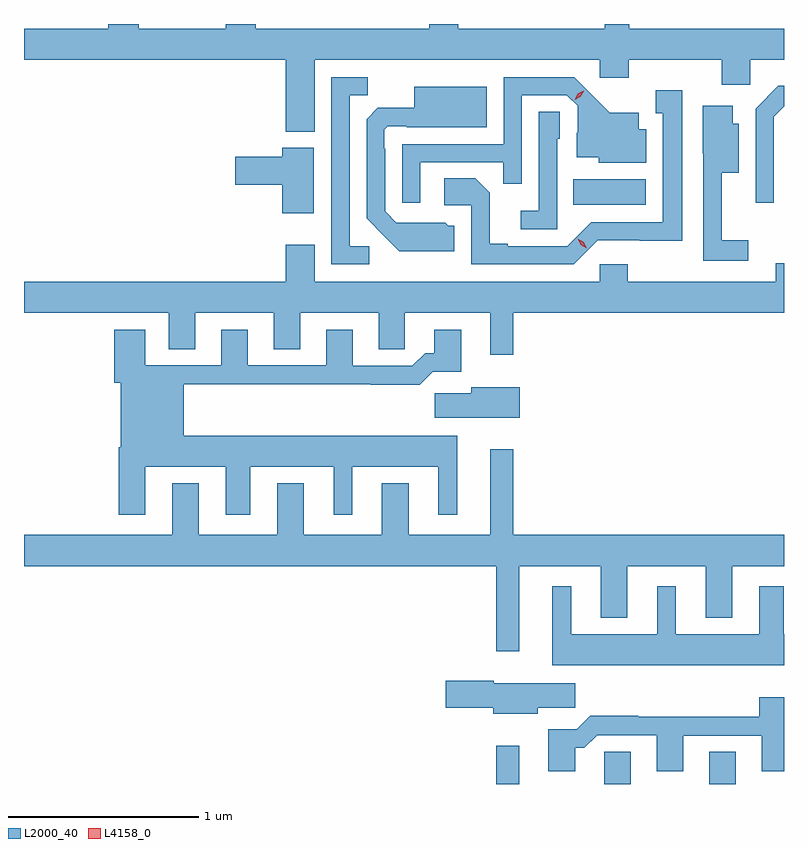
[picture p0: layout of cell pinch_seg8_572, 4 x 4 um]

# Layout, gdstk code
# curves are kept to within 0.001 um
import gdstk
lib = gdstk.Library(unit=1e-6, precision=1e-09)
def R(c, l, rs):  # rectangles x0, y0, x1, y1
    for r in rs: c.add(gdstk.rectangle(r[:2], r[2:], *l))
def P(c, l, *ps):  # polygons
    for p in ps: c.add(gdstk.Polygon(p, *l))
L2000_40 = (2000, 40)
L4158_0 = (4158, 0)

pinch_seg8_572 = lib.new_cell('pinch_seg8_572')
R(pinch_seg8_572, L2000_40, [(161.16,1088.713,161.281,1088.914), (161.73,1088.713,161.869,1088.882), (162.281,1088.713,162.421,1088.882), (161.566,1091.762,161.947,1091.896)])
P(pinch_seg8_572, L2000_40, [(160.204,1092.524),(161.706,1092.524),(161.706,1092.429),(161.858,1092.429),(161.858,1092.524),(162.347,1092.524),(162.347,1092.393),(162.498,1092.393),(162.498,1092.524),(162.675,1092.524),(162.675,1092.688),(161.861,1092.688),(161.861,1092.713),(161.732,1092.713),(161.732,1092.688),(160.96,1092.688),(160.96,1092.713),(160.808,1092.713),(160.808,1092.688),(159.896,1092.688),(159.896,1092.713),(159.736,1092.713),(159.736,1092.688),(159.279,1092.688),(159.279,1092.713),(159.119,1092.713),(159.119,1092.688),(158.675,1092.688),(158.675,1092.524),(160.052,1092.524),(160.052,1092.146),(160.204,1092.146)],
  [(160.492,1091.544),(160.389,1091.544),(160.389,1092.337),(160.485,1092.337),(160.485,1092.432),(160.293,1092.432),(160.293,1091.448),(160.492,1091.448)],
  [(160.761,1091.985),(161.197,1091.985),(161.197,1091.872),(161.295,1091.872),(161.295,1092.339),(161.532,1092.339),(161.589,1092.282),(161.589,1092.14),(161.585,1092.14),(161.585,1092.011),(161.7,1092.011),(161.7,1091.984),(161.95,1091.984),(161.95,1092.16),(161.911,1092.16),(161.911,1092.247),(161.759,1092.247),(161.572,1092.432),(161.199,1092.432),(161.199,1092.081),(160.665,1092.081),(160.665,1091.772),(160.761,1091.772)],
  [(162.621,1092.225),(162.675,1092.279),(162.675,1092.388),(162.646,1092.388),(162.525,1092.267),(162.525,1091.772),(162.621,1091.772)],
  [(160.939,1091.652),(160.908,1091.652),(160.892,1091.668),(160.635,1091.667),(160.575,1091.727),(160.575,1092.056),(160.572,1092.056),(160.572,1092.156),(160.59,1092.174),(160.69,1092.174),(160.69,1092.17),(161.11,1092.17),(161.11,1092.382),(160.73,1092.382),(160.73,1092.271),(160.538,1092.271),(160.479,1092.212),(160.479,1091.69),(160.651,1091.516),(160.939,1091.516)],
  [(161.694,1091.574),(162.139,1091.573),(162.139,1092.364),(161.999,1092.364),(161.999,1092.243),(162.038,1092.243),(162.038,1091.67),(161.661,1091.67),(161.535,1091.544),(161.221,1091.544),(161.221,1091.557),(161.127,1091.557),(161.127,1091.824),(161.051,1091.9),(160.887,1091.9),(160.887,1091.76),(161.028,1091.76),(161.028,1091.448),(161.568,1091.448)],
  [(162.487,1091.575),(162.347,1091.575),(162.347,1091.93),(162.436,1091.93),(162.436,1092.187),(162.406,1092.187),(162.406,1092.283),(162.248,1092.283),(162.248,1092.034),(162.249,1092.034),(162.249,1091.466),(162.487,1091.466)],
  [(161.481,1092.108),(161.496,1092.108),(161.496,1092.251),(161.385,1092.251),(161.385,1091.731),(161.289,1091.731),(161.289,1091.634),(161.481,1091.634)],
  [(160.201,1092.061),(160.034,1092.061),(160.034,1092.014),(159.786,1092.014),(159.786,1091.867),(160.034,1091.867),(160.034,1091.718),(160.201,1091.718)],
  [(161.251,1091.192),(162.675,1091.192),(162.675,1091.454),(162.632,1091.454),(162.632,1091.356),(161.853,1091.356),(161.853,1091.449),(161.706,1091.449),(161.706,1091.356),(160.204,1091.356),(160.204,1091.551),(160.052,1091.551),(160.052,1091.356),(158.675,1091.356),(158.675,1091.192),(159.437,1091.192),(159.437,1091.002),(159.577,1091.002),(159.577,1091.192),(159.989,1091.192),(159.989,1091.002),(160.129,1091.002),(160.129,1091.192),(160.541,1091.192),(160.541,1091.002),(160.68,1091.002),(160.68,1091.192),(161.129,1091.192),(161.129,1090.971),(161.251,1090.971)],
  [(159.313,1090.382),(159.737,1090.382),(159.737,1090.131),(159.865,1090.131),(159.865,1090.382),(160.304,1090.382),(160.304,1090.131),(160.402,1090.131),(160.402,1090.382),(160.856,1090.382),(160.856,1090.131),(160.954,1090.131),(160.954,1090.546),(159.517,1090.546),(159.517,1090.816),(160.501,1090.816),(160.501,1090.814),(160.757,1090.814),(160.826,1090.883),(160.975,1090.883),(160.975,1091.104),(160.835,1091.104),(160.835,1090.981),(160.786,1090.981),(160.719,1090.914),(160.405,1090.914),(160.405,1091.104),(160.265,1091.104),(160.265,1090.917),(159.853,1090.917),(159.853,1091.104),(159.713,1091.104),(159.713,1090.917),(159.313,1090.917),(159.313,1091.104),(159.149,1091.104),(159.149,1090.824),(159.185,1090.824),(159.185,1090.486),(159.173,1090.486),(159.173,1090.131),(159.313,1090.131)],
  [(161.284,1090.801),(161.03,1090.801),(161.03,1090.769),(160.836,1090.769),(160.836,1090.64),(161.284,1090.64)],
  [(161.281,1089.86),(161.711,1089.86),(161.711,1089.587),(161.851,1089.587),(161.851,1089.86),(162.263,1089.86),(162.263,1089.587),(162.403,1089.587),(162.403,1089.86),(162.675,1089.86),(162.675,1090.024),(161.251,1090.024),(161.251,1090.474),(161.129,1090.474),(161.129,1090.024),(160.699,1090.024),(160.699,1090.297),(160.559,1090.297),(160.559,1090.024),(160.147,1090.024),(160.147,1090.297),(160.007,1090.297),(160.007,1090.024),(159.595,1090.024),(159.595,1090.297),(159.455,1090.297),(159.455,1090.024),(158.675,1090.024),(158.675,1089.86),(161.16,1089.86),(161.16,1089.411),(161.281,1089.411)],
  [(162.675,1089.502),(162.673,1089.502),(162.673,1089.754),(162.545,1089.754),(162.545,1089.502),(162.106,1089.502),(162.106,1089.754),(162.008,1089.754),(162.008,1089.502),(161.554,1089.502),(161.554,1089.754),(161.456,1089.754),(161.456,1089.338),(162.675,1089.338)],
  [(161.38,1089.115),(161.575,1089.115),(161.575,1089.244),(161.148,1089.244),(161.148,1089.257),(160.896,1089.257),(160.896,1089.115),(161.144,1089.115),(161.144,1089.083),(161.38,1089.083)],
  [(161.575,1088.903),(161.624,1088.903),(161.691,1088.97),(162.005,1088.97),(162.005,1088.781),(162.145,1088.781),(162.145,1088.967),(162.557,1088.967),(162.557,1088.781),(162.675,1088.781),(162.675,1089.169),(162.545,1089.169),(162.545,1089.068),(161.909,1089.068),(161.909,1089.071),(161.654,1089.071),(161.584,1089.001),(161.435,1089.001),(161.435,1088.781),(161.575,1088.781)])
P(pinch_seg8_572, L4158_0, [(161.638,1091.532),(161.606,1091.552),(161.589,1091.584),(161.589,1091.584),(161.589,1091.584),(161.621,1091.565),(161.638,1091.533),(161.638,1091.532)],
  [(161.573,1092.314),(161.573,1092.314),(161.589,1092.345),(161.62,1092.361),(161.62,1092.361),(161.62,1092.36),(161.603,1092.33),(161.573,1092.314)])

lib.write_gds('pinch_seg8_572.gds')
